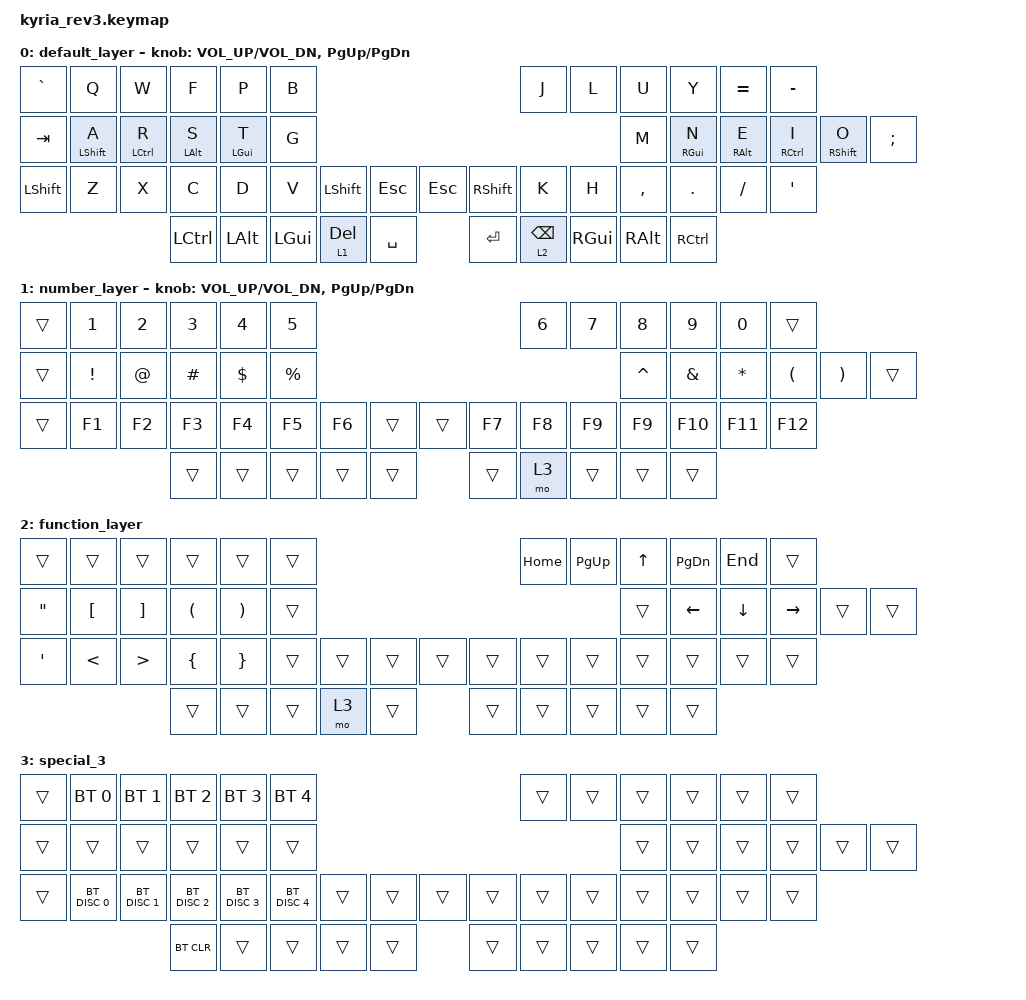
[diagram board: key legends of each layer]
#include <behaviors.dtsi>
#include <dt-bindings/zmk/behaviors.h>
#include <dt-bindings/zmk/bt.h>
#include <dt-bindings/zmk/keys.h>

/ {
    behaviors {
        mt_layer: layer_tap_key {
            compatible = "zmk,behavior-hold-tap";
            label = "MT_LAYER";
            #binding-cells = <2>;
            flavor = "tap-preferred";
            tapping-term-ms = <200>;
            bindings = <&mo>, <&kp>;
            display-name = "MT-LAYER";
        };

        mt_key: mod_tap_key {
            compatible = "zmk,behavior-hold-tap";
            label = "MT_KEY";
            #binding-cells = <2>;
            flavor = "tap-preferred";
            tapping-term-ms = <200>;
            bindings = <&kp>, <&kp>;
            display-name = "Mod-Tap";
        };
    };

    keymap {
        compatible = "zmk,keymap";

        default_layer {
            bindings = <
&kp GRAVE  &kp Q             &kp W               &kp F             &kp P           &kp B                                                                &kp J          &kp L            &kp U              &kp Y                &kp EQUAL          &kp MINUS
&kp TAB    &mt_key LEFT_SHIFT A  &mt_key LEFT_CONTROL R  &mt_key LEFT_ALT S    &mt_key LEFT_GUI T  &kp G                                                                &kp M          &mt_key RIGHT_GUI N  &mt_key RIGHT_ALT E    &mt_key RIGHT_CONTROL I  &mt_key RIGHT_SHIFT O  &kp SEMICOLON
&kp LSHFT  &kp Z             &kp X               &kp C             &kp D           &kp V       &kp LEFT_SHIFT  &kp ESCAPE  &kp ESCAPE  &kp RIGHT_SHIFT  &kp K          &kp H            &kp COMMA          &kp DOT              &kp SLASH          &kp SQT
                                                 &kp LEFT_CONTROL  &kp LEFT_ALT     &kp LEFT_GUI &mt_layer 1 DELETE &kp SPACE   &kp ENTER   &mt_layer 2 BACKSPACE   &kp RIGHT_GUI   &kp RIGHT_ALT   &kp RIGHT_CONTROL
            >;

            sensor-bindings = <&inc_dec_kp C_VOL_UP C_VOL_DN &inc_dec_kp PG_UP PG_DN>;
        };

        number_layer {
            bindings = <
&trans  &kp NUMBER_1     &kp NUMBER_2  &kp NUMBER_3  &kp NUMBER_4  &kp NUMBER_5                                  &kp NUMBER_6  &kp NUMBER_7   &kp NUMBER_8  &kp NUMBER_9          &kp NUMBER_0           &trans
&trans  &kp EXCLAMATION  &kp AT_SIGN   &kp HASH      &kp DOLLAR    &kp PERCENT                                   &kp CARET     &kp AMPERSAND  &kp ASTERISK  &kp LEFT_PARENTHESIS  &kp RIGHT_PARENTHESIS  &trans
&trans  &kp F1           &kp F2        &kp F3        &kp F4        &kp F5        &kp F6  &trans  &trans  &kp F7  &kp F8        &kp F9         &kp F9        &kp F10                &kp F11                 &kp F12
                                       &trans        &trans        &trans        &trans  &trans  &trans  &mo 3   &trans        &trans         &trans
            >;

            sensor-bindings = <&inc_dec_kp C_VOL_UP C_VOL_DN &inc_dec_kp PG_UP PG_DN>;
        };

        function_layer {
            bindings = <
&trans             &trans            &trans             &trans                &trans                 &trans                                  &kp HOME  &kp PAGE_UP     &kp UP_ARROW    &kp PAGE_DOWN    &kp END  &trans
&kp DOUBLE_QUOTES  &kp LEFT_BRACKET  &kp RIGHT_BRACKET  &kp LEFT_PARENTHESIS  &kp RIGHT_PARENTHESIS  &trans                                  &trans    &kp LEFT_ARROW  &kp DOWN_ARROW  &kp RIGHT_ARROW  &trans   &trans
&kp SINGLE_QUOTE   &kp LESS_THAN     &kp GREATER_THAN   &kp LEFT_BRACE        &kp RIGHT_BRACE        &trans  &trans  &trans  &trans  &trans  &trans    &trans          &trans          &trans           &trans   &trans
                                                        &trans                &trans                 &trans  &mo 3   &trans  &trans  &trans  &trans    &trans          &trans
            >;
        };

        special_3 {
            bindings = <
&trans  &bt BT_SEL 0   &bt BT_SEL 1   &bt BT_SEL 2   &bt BT_SEL 3   &bt BT_SEL 4                                   &trans  &trans  &trans  &trans  &trans  &trans
&trans  &trans         &trans         &trans         &trans         &trans                                         &trans  &trans  &trans  &trans  &trans  &trans
&trans  &bt BT_DISC 0  &bt BT_DISC 1  &bt BT_DISC 2  &bt BT_DISC 3  &bt BT_DISC 4  &trans  &trans  &trans  &trans  &trans  &trans  &trans  &trans  &trans  &trans
                                      &bt BT_CLR     &trans         &trans         &trans  &trans  &trans  &trans  &trans  &trans  &trans
            >;
        };
    };
};

